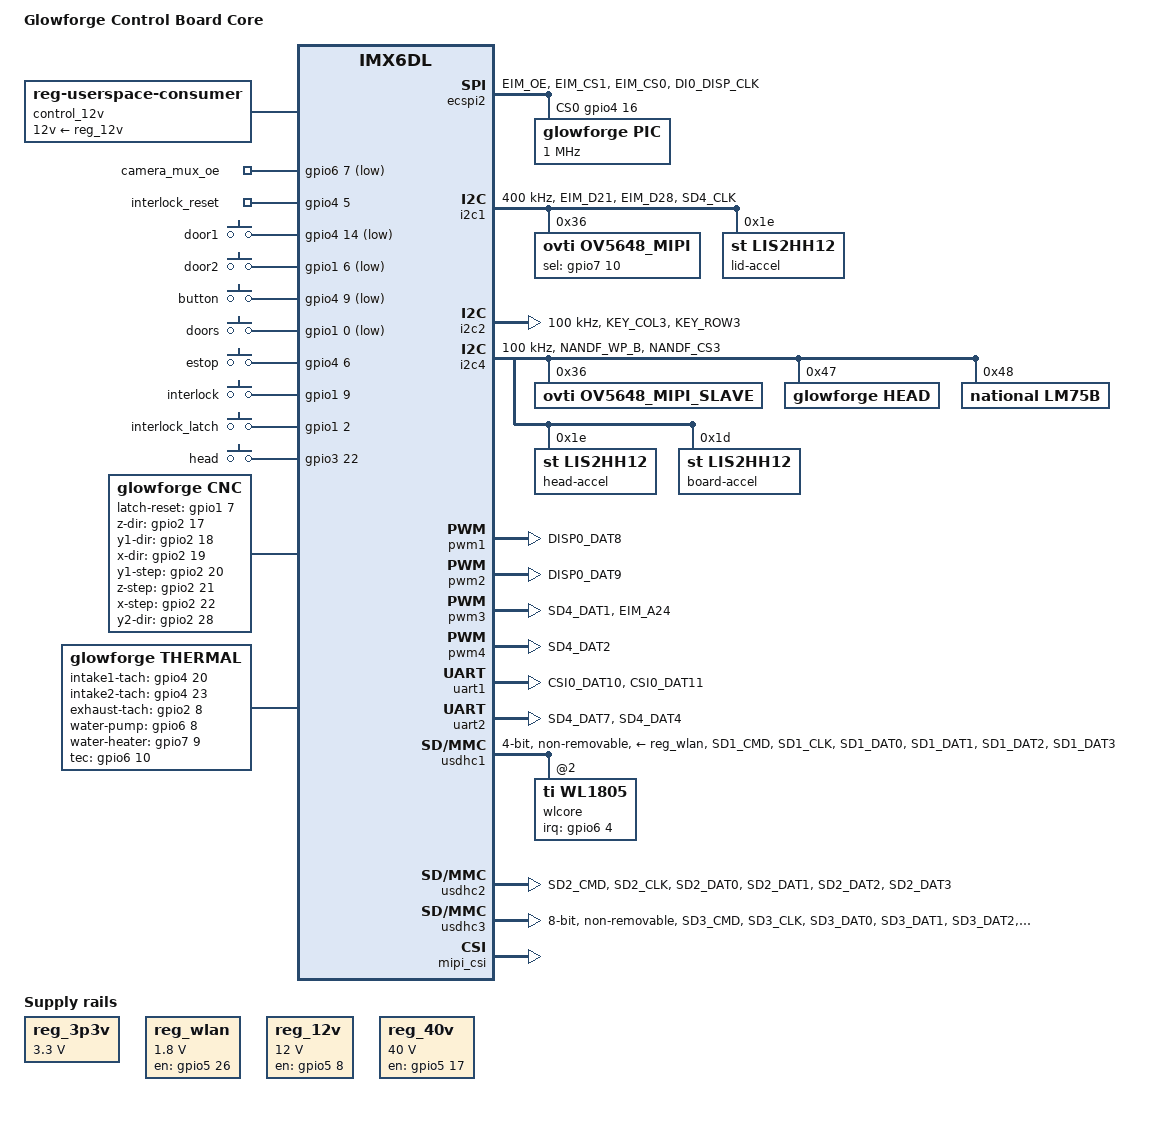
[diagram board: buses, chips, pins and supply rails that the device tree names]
/*
* Copyright (C) 2020 Scott Wiederhold <s.e.wiederhold@gmail.com>
* Copyright (C) 2015 Glowforge, Inc. <opensource@glowforge.com>
 * Based on work by Rabeeh Khoury and Russell King.
 */
/dts-v1/;

#include <dt-bindings/gpio/gpio.h>
#include "imx6dl.dtsi"
#include "openglow_common.dtsi"

/ {
	model = "Glowforge Control Board Core";
	compatible = "glowforge,imx6dl-glowforge", "fsl,imx6dl";

	/* An i.MX6 Solo is a DualLite with only one core. */
	cpus {
		/delete-node/ cpu@1;
	};

	chosen {
		bootargs = "quiet console=ttymxc0,115200 root=/dev/mmcblk1p1 rw";
	};

	aliases {
	};

	regulators {
		compatible = "simple-bus";

		reg_3p3v: 3p3v {
			compatible = "regulator-fixed";
			regulator-name = "3p3v";
			regulator-min-microvolt = <3300000>;
			regulator-max-microvolt = <3300000>;
			regulator-always-on;
		};

		reg_wlan: wlan-vbus {
			compatible = "regulator-fixed";
			regulator-name = "wlan-en-regulator";
			regulator-min-microvolt = <1800000>;
			regulator-max-microvolt = <1800000>;
			/* WLAN_EN GPIO */
			gpio = <&gpio5 26 0>;
			/* WLAN card specific delay */
			startup-delay-us = <70000>;
			enable-active-high;
		};

		reg_12v: 12v {
			compatible = "regulator-fixed";
			enable-active-high;
			regulator-boot-on;
			gpio = <&gpio5 8 0>;
			pinctrl-names = "default";
			pinctrl-0 = <&pinctrl_12v>;
			regulator-name = "12v";
			regulator-min-microvolt = <12000000>;
			regulator-max-microvolt = <12000000>;
      regulator-always-on;
		};

		reg_40v: 40v {
			compatible = "regulator-fixed";
			enable-active-high;
			gpio = <&gpio5 17 0>;
			pinctrl-names = "default";
			pinctrl-0 = <&pinctrl_40v>;
			regulator-name = "40v";
			regulator-min-microvolt = <40000000>;
			regulator-max-microvolt = <40000000>;
		};

		control_12v: control_12v {
			compatible = "reg-userspace-consumer";
			regulator-name = "control_12v";
			regulator-boot-on;
			regulator-supplies = "12v";
			12v-supply = <&reg_12v>;
		};
	};
	v4l2_cap_0 {
		compatible = "fsl,imx6q-v4l2-capture";
		ipu_id = <0>;
		csi_id = <1>;
		mclk_source = <0>;
		mipi_camera = <1>;
		default_input = <1>;
		status = "okay";
	};

	v4l2_out {
		compatible = "fsl,mxc_v4l2_output";
		status = "okay";
	};
	/* outputs control */
	outputs {
		compatible = "gpio-leds";
		pinctrl-names = "default";
		pinctrl-0 = <&pinctrl_outputs>;

		camera_mux_oe {
			label = "camera_mux_oe";
			gpios = <&gpio6 7 GPIO_ACTIVE_LOW>;
			default-state = "on";
		};

		interlock_reset {
			label = "interlock_reset";
			gpios = <&gpio4 5 GPIO_ACTIVE_HIGH>;
			default-state = "off";
		};
	};

	/* switches */
	switches {
		compatible = "gpio-keys";
		pinctrl-names = "default";
		pinctrl-0 = <&pinctrl_switches>;

		door1 {
			label = "door1";
			gpios = <&gpio4 14 GPIO_ACTIVE_LOW>;
			debounce-interval = <5>;
			linux,code = <0>;
			linux,input-type = <5>; /* EV_SW */
		};
		door2 {
			label = "door2";
			gpios = <&gpio1 6 GPIO_ACTIVE_LOW>;
			debounce-interval = <5>;
			linux,code = <1>;
			linux,input-type = <5>; /* EV_SW */
		};
		button {
			label = "button";
			gpios = <&gpio4 9 GPIO_ACTIVE_LOW>;
			debounce-interval = <20>;
			linux,code = <2>;
			linux,input-type = <5>; /* EV_SW */
		};
		doors {
			label = "doors";
			gpios = <&gpio1 0 GPIO_ACTIVE_LOW>;
			debounce-interval = <5>;
			linux,code = <3>;
			linux,input-type = <5>; /* EV_SW */
		};
		estop {
			label = "estop";
			gpios = <&gpio4 6 GPIO_ACTIVE_HIGH>;
			debounce-interval = <5>;
			linux,code = <4>;
			linux,input-type = <5>; /* EV_SW */
		};
		interlock {
			label = "interlock";
			gpios = <&gpio1 9 GPIO_ACTIVE_HIGH>;
			debounce-interval = <5>;
			linux,code = <5>;
			linux,input-type = <5>; /* EV_SW */
		};
		interlock_latch {
			label = "interlock_latch";
			gpios = <&gpio1 2 GPIO_ACTIVE_HIGH>;
			debounce-interval = <5>;
			linux,code = <6>;
			linux,input-type = <5>; /* EV_SW */
		};
		head {
			label = "head";
			gpios = <&gpio3 22 GPIO_ACTIVE_HIGH>;
			debounce-interval = <60>; /* ignore pulses when head reboots */
			linux,code = <7>;
			linux,input-type = <5>; /* EV_SW */
		};
	};

	/* stepper driver */
	cnc {
		compatible = "glowforge,cnc";
		pinctrl-names = "default";
		pinctrl-0 = <&pinctrl_cnc>;
		latch-reset-gpio   = <&gpio1 7 0>; /* BUTTON_LATCH_RST */
		z-dir-gpio         = <&gpio2 17 0>;
		y1-dir-gpio        = <&gpio2 18 0>;
		x-dir-gpio         = <&gpio2 19 0>;
		y1-step-gpio       = <&gpio2 20 0>;
		z-step-gpio        = <&gpio2 21 0>;
		x-step-gpio        = <&gpio2 22 0>;
		y2-dir-gpio        = <&gpio2 28 0>;
		y2-step-gpio       = <&gpio2 29 0>;
		laser-enable-gpio  = <&gpio2 30 0>;
		laser-on-head-gpio = <&gpio2 31 0>;
		x-mode1-gpio       = <&gpio3 1 0>;
		y1-enable-gpio     = <&gpio3 2 0>;
		x-mode2-gpio       = <&gpio3 3 0>;
		y-mode0-gpio       = <&gpio3 4 0>;
		x-mode0-gpio       = <&gpio3 5 0>;
		x-home-gpio        = <&gpio3 6 0>;
		y-decay-gpio       = <&gpio3 7 0>;
		y1-fault-gpio      = <&gpio3 8 0>;
		y2-home-gpio       = <&gpio3 9 0>;
		y1-home-gpio       = <&gpio3 10 0>;
		y2-enable-gpio     = <&gpio3 11 0>;
		y-mode1-gpio       = <&gpio3 12 0>;
		y-mode2-gpio       = <&gpio3 13 0>;
		y2-fault-gpio      = <&gpio3 14 0>;
		sleep-gpio         = <&gpio3 16 0>;
		z-enable-gpio      = <&gpio3 17 0>; /* NC; unused */
		reset-gpio         = <&gpio3 18 0>;
		x-decay-gpio       = <&gpio3 23 0>;
		charge-pump-gpio   = <&gpio3 24 0>;
		x-fault-gpio       = <&gpio3 26 0>;
		x-enable-gpio      = <&gpio3 27 0>;
		beam-reset-gpio    = <&gpio7 13 0>; /* unused; only v13 and v14 */
		laser-pwm          = <1>;
		timer              = <&epit1>;
		sdma-params        = <26 0xe00>;
	};

	/* thermal */
	thermal {
		compatible = "glowforge,thermal";
		pinctrl-names = "default";
		pinctrl-0 = <&pinctrl_thermal>;
		intake1-tach-gpio = <&gpio4 20 0>;
		intake2-tach-gpio = <&gpio4 23 0>;
		exhaust-tach-gpio = <&gpio2 8 0>;
		water-pump-gpio   = <&gpio6 8 0>;
		water-heater-gpio = <&gpio7 9 0>;
		tec-gpio          = <&gpio6 10 0>;
		intake-pwm        = <0>;
		exhaust-pwm       = <2>;
	};
};

&epit1 {
  compatible = "fsl,imx6qdl-epit";
	id = <0>;
	clocks = <&clks IMX6QDL_CLK_EPIT1>;
	clock-names = "epit1";
	sdma-event = <16>;
};

&epit2 {
	compatible = "fsl,imx6qdl-epit";
	id = <1>;
	clocks = <&clks IMX6QDL_CLK_EPIT2>;
	clock-names = "epit2";
	sdma-event = <9>; /* note: requires bit 5 set in IOMUXC_GPR0 */
	sdma-event-select = <&gpr 0 0x20 0x20>;
};

&ecspi2 {
	fsl,spi-num-chipselects = <1>;
	cs-gpios = <&gpio4 16 0>;
	pinctrl-names = "default";
	pinctrl-0 = <&pinctrl_ecspi2>;
	status = "okay";

	pic: spi@0 {
		compatible = "glowforge,pic";
		/* Datasheet indicates max SCLK frequency is about 3.44MHz */
		spi-max-frequency = <1000000>;
		reg = <0>;
	};
};

/* Lid I2C Bus */
&i2c1 {
	clock-frequency = <400000>;
	pinctrl-names = "default";
	pinctrl-0 = <&pinctrl_i2c1>;
	status = "okay";
	ov5648_mipi: ov5648_mipi@36 {
		compatible = "ovti,ov5648_mipi";
		reg = <0x36>;
		clocks = <&clks 0>;
		clock-names = "csi_mclk";
		sel-gpios = <&gpio7 10 GPIO_ACTIVE_HIGH>;
		default-state = "off"; /* off=camera A, on=camera B */
		ipu_id = <0>;
		csi_id = <1>;
		mclk = <25000000>;
		mclk_source = <0>;
		pinctrl-names = "default";
		extended-buffer;
	};
	/* LID ACCELEROMETER */
	lid-accel@1e {
			reg = <0x1e>;
			compatible = "st,lis2hh12";
	};
};

/* Unused I2C Bus */
&i2c2 {
	clock-frequency = <100000>;
	pinctrl-names = "default";
	pinctrl-0 = <&pinctrl_i2c2>;
	status = "okay";
};

/* Head I2C */
&i2c4 {
	clock-frequency = <100000>;
	pinctrl-names = "default";
	pinctrl-0 = <&pinctrl_i2c4>;
	status = "okay";
	/* Slave camera description (only for development purposes) */
	ov5648_mipi_slave: ov5648_mipi_slave@36 {
		compatible = "ovti,ov5648_mipi_slave";
		reg = <0x36>;
		/* Pi camera has its own 25MHz clock. */
		clocks = <&clks 0>;
		clock-names = "csi_mclk";
		ipu_id = <0>;
		csi_id = <1>;
		mclk = <25000000>;
		mclk_source = <0>;
		extended-buffer;
	};
	/* HEAD */
	head@47 {
			reg = <0x47>;
			compatible = "glowforge,head";
	};
	/* INTERCONNECT TEMP SENSOR */
	lm75b@48 {
			reg = <0x48>;
			compatible = "national,lm75b";
	};
	/* HEAD ACCELEROMETER */
	head-accel@1e {
			reg = <0x1e>;
			compatible = "st,lis2hh12";
	};
	/* CONTROL BOARD ACCELEROMETER */
	board-accel@1d {
			reg = <0x1d>;
			compatible = "st,lis2hh12";
	};
};

&iomuxc {
	compatible: fsl,imx6sl-iomuxc;
	pinctrl-names = "default";
	pinctrl-0 = <&pinctrl_hog>;

	glowforge {
		pinctrl_hog: hog {
			fsl,pins = <
				MX6QDL_PAD_CSI0_DAT8__GPIO5_IO26  WEAK_PULLDOWN /* WL_EN */
				MX6QDL_PAD_CSI0_DAT18__GPIO6_IO04 WEAK_PULLDOWN /* WL_IRQ */
			>;
		};

		pinctrl_uart1: glowforge_uart1 {
			fsl,pins = <
				MX6QDL_PAD_CSI0_DAT10__UART1_TX_DATA UART_PAD_CTRL
				MX6QDL_PAD_CSI0_DAT11__UART1_RX_DATA UART_PAD_CTRL
			>;
		};

		pinctrl_uart2: glowforge_uart2 {
			fsl,pins = <
				MX6QDL_PAD_SD4_DAT7__UART2_TX_DATA UART_PAD_CTRL
				MX6QDL_PAD_SD4_DAT4__UART2_RX_DATA UART_PAD_CTRL
			>;
		};

		pinctrl_ecspi2: glowforge_ecspi2 {
			fsl,pins = <
				MX6QDL_PAD_EIM_OE__ECSPI2_MISO      SPI_PAD_CTRL
				MX6QDL_PAD_EIM_CS1__ECSPI2_MOSI     SPI_PAD_CTRL
				MX6QDL_PAD_EIM_CS0__ECSPI2_SCLK     (SPI_PAD_CTRL | PAD_CTL_PUS_100K_DOWN)
				MX6QDL_PAD_DI0_DISP_CLK__GPIO4_IO16 WEAK_PULLUP
			>;
		};

		pinctrl_cnc: glowforge_cnc {
			fsl,pins = <
				MX6QDL_PAD_GPIO_7__GPIO1_IO07	   WEAK_PULLUP	/* BUTTON_LATCH_RST */
				/* GPIO2_IO16 NC */
				MX6QDL_PAD_EIM_A21__GPIO2_IO17   WEAK_PULLUP	/* STEP_Z_DIR */
				MX6QDL_PAD_EIM_A20__GPIO2_IO18   WEAK_PULLUP	/* Y1_DIR */
				MX6QDL_PAD_EIM_A19__GPIO2_IO19   WEAK_PULLUP	/* X_DIR */
				MX6QDL_PAD_EIM_A18__GPIO2_IO20   WEAK_PULLUP	/* Y1_STEP */
				MX6QDL_PAD_EIM_A17__GPIO2_IO21   WEAK_PULLUP	/* STEP_Z_STEP */
				MX6QDL_PAD_EIM_A16__GPIO2_IO22   WEAK_PULLUP	/* X_STEP */
				MX6QDL_PAD_EIM_EB0__GPIO2_IO28   WEAK_PULLUP	/* Y2_DIR */
				MX6QDL_PAD_EIM_EB1__GPIO2_IO29   WEAK_PULLUP	/* Y2_STEP */
				MX6QDL_PAD_EIM_EB2__GPIO2_IO30   (WEAK_PULLUP | MUX_MODE_SION)	/* LASER_ENABLE, SION enabled */
				MX6QDL_PAD_EIM_EB3__GPIO2_IO31   WEAK_PULLUP	/* LASER_ON_HEAD */
				/* GPIO3_IO00 NC */
				MX6QDL_PAD_EIM_DA1__GPIO3_IO01   (WEAK_PULLUP | MUX_MODE_SION)	/* X_MODE1, SION enabled */
				MX6QDL_PAD_EIM_DA2__GPIO3_IO02   WEAK_PULLUP	/* Y1_ENBL */
				MX6QDL_PAD_EIM_DA3__GPIO3_IO03   (WEAK_PULLUP | MUX_MODE_SION)	/* X_MODE2, SION enabled */
				MX6QDL_PAD_EIM_DA4__GPIO3_IO04   (WEAK_PULLUP | MUX_MODE_SION)	/* Y_MODE0, SION enabled */
				MX6QDL_PAD_EIM_DA5__GPIO3_IO05   (WEAK_PULLUP | MUX_MODE_SION)	/* X_MODE0, SION enabled */
				MX6QDL_PAD_EIM_DA6__GPIO3_IO06   WEAK_PULLUP	/* X_HOME, no pulldown or pullup */
				MX6QDL_PAD_EIM_DA7__GPIO3_IO07   (WEAK_PULLUP | MUX_MODE_SION)	/* Y_DECAY, SION enabled */
				MX6QDL_PAD_EIM_DA8__GPIO3_IO08   WEAK_PULLUP	/* Y1_FAULT */
				MX6QDL_PAD_EIM_DA9__GPIO3_IO09   WEAK_PULLUP	/* Y2_HOME */
				MX6QDL_PAD_EIM_DA10__GPIO3_IO10  WEAK_PULLUP	/* Y1_HOME */
				MX6QDL_PAD_EIM_DA11__GPIO3_IO11  WEAK_PULLUP	/* Y2_ENBL */
				MX6QDL_PAD_EIM_DA12__GPIO3_IO12  (WEAK_PULLUP | MUX_MODE_SION)	/* Y_MODE1, SION enabled */
				MX6QDL_PAD_EIM_DA13__GPIO3_IO13  (WEAK_PULLUP | MUX_MODE_SION)	/* Y_MODE2, SION enabled */
				MX6QDL_PAD_EIM_DA14__GPIO3_IO14  WEAK_PULLUP	/* Y2_FAULT */
				/* MX6QDL_PAD_EIM_DA15__GPIO3_IO15         NC */
				MX6QDL_PAD_EIM_D16__GPIO3_IO16   WEAK_PULLUP	/* STEP_SLEEP */
				/* MX6QDL_PAD_EIM_D17__GPIO3_IO17        NC */
				MX6QDL_PAD_EIM_D18__GPIO3_IO18   WEAK_PULLUP	/* /STEP_RESET */
				MX6QDL_PAD_EIM_D23__GPIO3_IO23   (WEAK_PULLUP | MUX_MODE_SION)	/* X_DECAY, SION enabled */
				MX6QDL_PAD_EIM_D24__GPIO3_IO24   (WEAK_PULLUP | MUX_MODE_SION)	/* CHARGE_PUMP, SION enabled */
				MX6QDL_PAD_EIM_D26__GPIO3_IO26   WEAK_PULLUP	/* /X_FAULT, no pulldown or pullup */
				MX6QDL_PAD_EIM_D27__GPIO3_IO27   WEAK_PULLUP	/* X_ENBL */
				MX6QDL_PAD_KEY_ROW0__GPIO4_IO07  WEAK_PULLUP	/* !BEAM_DET_TIMEOUT, no pulldown or pullup */
				MX6QDL_PAD_KEY_COL1__GPIO4_IO08  WEAK_PULLUP	/* !BEAM_DET_XOR, no pulldown or pullup */
				MX6QDL_PAD_KEY_COL2__GPIO4_IO10  WEAK_PULLUP	/* BEAM_DET_ERR, no pulldown or pullup */
				MX6QDL_PAD_KEY_ROW4__GPIO4_IO15  WEAK_PULLUP	/* !BEAM_DET, no pulldown or pullup */
				MX6QDL_PAD_GPIO_18__GPIO7_IO13   WEAK_PULLUP	/* BEAM_DET_LATCH_RST */
			>;
		};

		pinctrl_thermal: glowforge_thermal {
			fsl,pins = <
				MX6QDL_PAD_DI0_PIN4__GPIO4_IO20    WEAK_PULLUP	/* FAN_TACH_INTAKE1 */
				MX6QDL_PAD_DISP0_DAT2__GPIO4_IO23  WEAK_PULLUP	/* FAN_TACH_INTAKE2 */
				MX6QDL_PAD_NANDF_ALE__GPIO6_IO08   (WEAK_PULLUP | MUX_MODE_SION)	/* WATER_ON, SION enabled */
				MX6QDL_PAD_NANDF_RB0__GPIO6_IO10   (WEAK_PULLUP | MUX_MODE_SION)	/* TEC_ON, SION enabled */
				MX6QDL_PAD_SD4_CMD__GPIO7_IO09     (WEAK_PULLUP | MUX_MODE_SION)	/* WATER_HEATER_ON, SION enabled */
				MX6QDL_PAD_SD4_DAT0__GPIO2_IO08    WEAK_PULLUP	/* FAN_TACH_EXHAUST */
			>;
		};

		pinctrl_12v: glowforge_12v {
			fsl,pins = <MX6QDL_PAD_DISP0_DAT14__GPIO5_IO08 WEAK_PULLUP>;
		};

		pinctrl_40v: glowforge_40v {
			fsl,pins = <MX6QDL_PAD_DISP0_DAT23__GPIO5_IO17 WEAK_PULLUP>;
		};

		pinctrl_i2c1: glowforge_i2c1 {
			fsl,pins = <
				MX6QDL_PAD_EIM_D21__I2C1_SCL   I2C_PAD_CTRL	/* SION enabled */
				MX6QDL_PAD_EIM_D28__I2C1_SDA   I2C_PAD_CTRL	/* SION enabled */
				MX6QDL_PAD_SD4_CLK__GPIO7_IO10 WEAK_PULLUP	/* CAM_SEL */
			>;
		};

		pinctrl_i2c2: glowforge_i2c2 {
			fsl,pins = <
				MX6QDL_PAD_KEY_COL3__I2C2_SCL   I2C_PAD_CTRL	/* SION enabled */
				MX6QDL_PAD_KEY_ROW3__I2C2_SDA   I2C_PAD_CTRL	/* SION enabled */
			>;
		};

		pinctrl_i2c4: glowforge_i2c4 {
			fsl,pins = <
				MX6QDL_PAD_NANDF_WP_B__I2C4_SCL I2C_PAD_CTRL	/* OD, SION enabled */
				MX6QDL_PAD_NANDF_CS3__I2C4_SDA  I2C_PAD_CTRL	/* OD, SION enabled */
			>;
		};

		pinctrl_usdhc2_aux: glowforge_usdhc2_aux {
			fsl,pins = <
				MX6QDL_PAD_GPIO_4__GPIO1_IO04    0x1f071
			>;
		};

		pinctrl_usdhc1: glowforge_usdhc1 {
			fsl,pins = <
				MX6QDL_PAD_SD1_CMD__SD1_CMD    USDHC_PAD_CTRL
				MX6QDL_PAD_SD1_CLK__SD1_CLK    USDHC_PAD_CTRL
				MX6QDL_PAD_SD1_DAT0__SD1_DATA0 USDHC_PAD_CTRL
				MX6QDL_PAD_SD1_DAT1__SD1_DATA1 USDHC_PAD_CTRL
				MX6QDL_PAD_SD1_DAT2__SD1_DATA2 USDHC_PAD_CTRL
				MX6QDL_PAD_SD1_DAT3__SD1_DATA3 USDHC_PAD_CTRL
			>;
		};

		pinctrl_usdhc2: glowforge_usdhc2 {
			fsl,pins = <
				MX6QDL_PAD_SD2_CMD__SD2_CMD    USDHC_PAD_CTRL
				MX6QDL_PAD_SD2_CLK__SD2_CLK    USDHC_PAD_CTRL
				MX6QDL_PAD_SD2_DAT0__SD2_DATA0 USDHC_PAD_CTRL
				MX6QDL_PAD_SD2_DAT1__SD2_DATA1 USDHC_PAD_CTRL
				MX6QDL_PAD_SD2_DAT2__SD2_DATA2 USDHC_PAD_CTRL
				MX6QDL_PAD_SD2_DAT3__SD2_DATA3 USDHC_PAD_CTRL
			>;
		};

		pinctrl_usdhc3: usdhc3grp {
			fsl,pins = <
				MX6QDL_PAD_SD3_CMD__SD3_CMD    USDHC_PAD_CTRL
				MX6QDL_PAD_SD3_CLK__SD3_CLK    USDHC_PAD_CTRL
				MX6QDL_PAD_SD3_DAT0__SD3_DATA0 USDHC_PAD_CTRL
				MX6QDL_PAD_SD3_DAT1__SD3_DATA1 USDHC_PAD_CTRL
				MX6QDL_PAD_SD3_DAT2__SD3_DATA2 USDHC_PAD_CTRL
				MX6QDL_PAD_SD3_DAT3__SD3_DATA3 USDHC_PAD_CTRL
				MX6QDL_PAD_SD3_DAT4__SD3_DATA4 USDHC_PAD_CTRL
				MX6QDL_PAD_SD3_DAT5__SD3_DATA5 USDHC_PAD_CTRL
				MX6QDL_PAD_SD3_DAT6__SD3_DATA6 USDHC_PAD_CTRL
				MX6QDL_PAD_SD3_DAT7__SD3_DATA7 USDHC_PAD_CTRL
				MX6QDL_PAD_SD3_RST__SD3_RESET  WEAK_PULLUP
			>;
		};
		pinctrl_pwm1: glowforge_pwm1 {
			fsl,pins = <
				MX6QDL_PAD_DISP0_DAT8__PWM1_OUT 0x1b0b8	/* FAN_PWM_INTAKE, strong drive */
			>;
		};

		pinctrl_pwm2: glowforge_pwm2 {
			fsl,pins = <
				MX6QDL_PAD_DISP0_DAT9__PWM2_OUT 0x1b0b8	/* LASER_PWM, strong drive */
			>;
		};

		pinctrl_pwm3: glowforge_pwm3 {
			fsl,pins = <
				MX6QDL_PAD_SD4_DAT1__PWM3_OUT  0x1b0b8 /* AUDIO_OUT, strong drive */
				MX6QDL_PAD_EIM_A24__GPIO5_IO04 WEAK_PULLUP /* SPKR_EN */
			>;
		};

		pinctrl_pwm4: glowforge_pwm4 {
			fsl,pins = <
				MX6QDL_PAD_SD4_DAT2__PWM4_OUT 0x1b0b8	/* FAN_PWM_EXHAUST, strong drive */
			>;
		};

		pinctrl_switches: glowforge_switches {
			fsl,pins = <
				MX6QDL_PAD_KEY_COL4__GPIO4_IO14    0x100b0	/* !DOOR_SW1 */
				MX6QDL_PAD_GPIO_6__GPIO1_IO06      0x100b0	/* !DOOR_SW2 */
				MX6QDL_PAD_KEY_ROW1__GPIO4_IO09    0x100b0	/* !PAUSE (button pressed) */
				MX6QDL_PAD_GPIO_0__GPIO1_IO00      0x100b0      /* !DOOR_SW */
				MX6QDL_PAD_KEY_COL0__GPIO4_IO06    0x100b0	/* ESTOP */
				MX6QDL_PAD_GPIO_9__GPIO1_IO09      0x100b0	/* INTERLOCK */
				MX6QDL_PAD_GPIO_2__GPIO1_IO02      0x100b0	/* INTERLOCK_LATCH, no pulldown or pullup */
				MX6QDL_PAD_EIM_D22__GPIO3_IO22     WEAK_PULLUP	/* HEAD_IRQ, pullup */
			>;
		};

		pinctrl_outputs: glowforge_outputs {
			fsl,pins = <
				MX6QDL_PAD_NANDF_CLE__GPIO6_IO07  WEAK_PULLUP	/* CAM_!OE */
				MX6QDL_PAD_GPIO_19__GPIO4_IO05    0x100b0	/* INTERLOCK_LATCH_RESET, no pulldown or pullup */
			>;
		};
	};
};

&gpc {
	fsl,cpu_pupscr_sw2iso = <0xf>;
	fsl,cpu_pupscr_sw = <0xf>;
	fsl,cpu_pdnscr_iso2sw = <0x1>;
	fsl,cpu_pdnscr_iso = <0x1>;
};

&pwm1 {
	pinctrl-names = "default";
	pinctrl-0 = <&pinctrl_pwm1>;
	status = "okay";
};

&pwm2 {
	pinctrl-names = "default";
	pinctrl-0 = <&pinctrl_pwm2>;
	status = "okay";
	fsl,extra-prescale = <13>;
};

&pwm3 {
	compatible = "glowforge,imx-pwm-audio";
	pinctrl-names = "default";
	pinctrl-0 = <&pinctrl_pwm3>;
	status = "okay";
	enable-gpio = <&gpio5 4 0>;
	timer = <&epit2>;
	sdma-params = <25 0xdc0>; /* channel and script load address */
};

&pwm4 {
	pinctrl-names = "default";
	pinctrl-0 = <&pinctrl_pwm4>;
	status = "okay";
};

&uart1 {
	pinctrl-names = "default";
	pinctrl-0 = <&pinctrl_uart1>;
	status = "okay";
};

&uart2 {
	pinctrl-names = "default";
	pinctrl-0 = <&pinctrl_uart2>;
	fsl,irda-mode;
	status = "okay";
};

/* WL1805 */
&usdhc1 {
	pinctrl-names = "default";
	pinctrl-0 = <&pinctrl_usdhc1>;
	bus-width = <4>;
	no-1-8-v;
	keep-power-in-suspend;
	enable-sdio-wakeup;
	vmmc-supply = <&reg_wlan>;
	non-removable;
	cap-power-off-card;
	status = "okay";
	#address-cells = <1>;
	#size-cells = <0>;
	wlcore: wlcore@0 {
		compatible = "ti,wl1805";
		reg = <2>;
		interrupt-parent = <&gpio6>;
		interrupts = <4 IRQ_TYPE_EDGE_RISING>;
	};
};

/* SD card */
&usdhc2 {
	pinctrl-names = "default";
	pinctrl-0 = <&pinctrl_usdhc2>;
  broken-cd;
  no-1-8-v;
  keep-power-in-suspend;
  enable-sdio-wakeup;
	status = "okay";
};

/* eMMC */
&usdhc3 {
	pinctrl-names = "default";
	pinctrl-0 = <&pinctrl_usdhc3>;
	bus-width = <8>;
	non-removable;
	no-1-8-v;
	keep-power-in-suspend;
	cd-gpios = <>;
	wp-gpios = <>;
	status = "okay";
};

&mipi_csi {
	ipu_id = <0>;
	csi_id = <1>;
	v_channel = <0>;
	lanes = <2>;
	mipi_dphy_clk = <0x28>;
	status = "okay";
};
